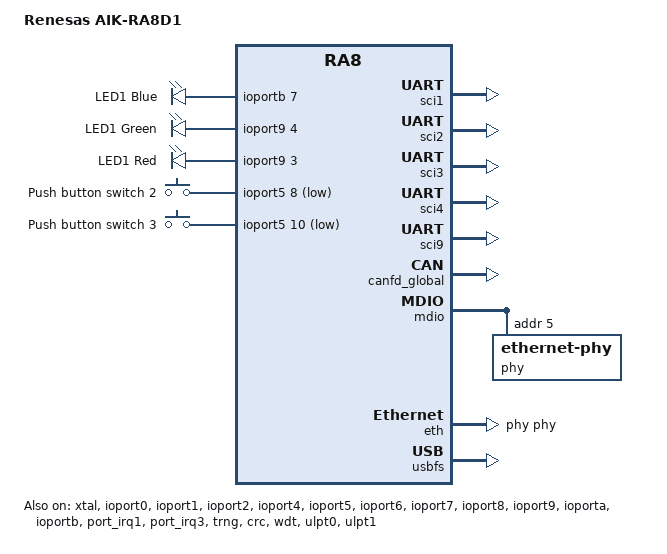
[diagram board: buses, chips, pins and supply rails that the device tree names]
/*
 * Copyright (c) 2026 Renesas Electronics Corporation
 *
 * SPDX-License-Identifier: Apache-2.0
 */

/dts-v1/;

#include <renesas/ra/ra8/r7fa8d1bhecbd.dtsi>
#include <zephyr/dt-bindings/gpio/gpio.h>
#include <zephyr/dt-bindings/i2c/i2c.h>
#include <zephyr/dt-bindings/input/input-event-codes.h>
#include <zephyr/dt-bindings/memory-attr/memory-attr-arm.h>
#include <zephyr/dt-bindings/memory-controller/renesas,ra-sdram.h>
#include <zephyr/dt-bindings/pwm/pwm.h>
#include "aik_ra8d1-pinctrl.dtsi"
#include "aik_ra8d1-connector.dtsi"

/ {
	model = "Renesas AIK-RA8D1";
	compatible = "renesas,ra8d1", "renesas,ra8";

	chosen {
		zephyr,sram = &sram0;
		zephyr,flash = &flash0;
		zephyr,flash-controller = &flash0;
		zephyr,console = &uart4;
		zephyr,shell-uart = &uart4;
		zephyr,entropy = &trng;
		zephyr,canbus = &canfd1;
		zephyr,crc = &crc;
	};

	leds {
		compatible = "gpio-leds";

		led1_blue: led1-blue {
			gpios = <&ioportb 7 GPIO_ACTIVE_HIGH>;
			label = "LED1 Blue";
		};

		led1_green: led1-green {
			gpios = <&ioport9 4 GPIO_ACTIVE_HIGH>;
			label = "LED1 Green";
		};

		led1_red: led1-red {
			gpios = <&ioport9 3 GPIO_ACTIVE_HIGH>;
			label = "LED1 Red";
		};
	};

	buttons {
		compatible = "gpio-keys";

		button2: s2 {
			gpios = <&ioport5 8 (GPIO_PULL_UP | GPIO_ACTIVE_LOW)>;	/* IRQ1 */
			label = "Push button switch 2";
			zephyr,code = <INPUT_KEY_0>;
		};

		button3: s3 {
			gpios = <&ioport5 10 (GPIO_PULL_UP | GPIO_ACTIVE_LOW)>;	/* IRQ3 */
			label = "Push button switch 3";
			zephyr,code = <INPUT_KEY_1>;
		};
	};

	aliases {
		led0 = &led1_blue;
		led1 = &led1_green;
		led2 = &led1_red;
		sw0 = &button2;
		sw1 = &button3;
		mipi-dsi = &mipi_dsi;
		watchdog0 = &wdt;
	};

	sdram1: sdram@68000000 {
		compatible = "zephyr,memory-region", "mmio-sram";
		reg = <0x68000000 DT_SIZE_M(64)>;	/* 512 Mbits */
		zephyr,memory-region = "SDRAM";
	};

	dvp_20pin_xclk: cam_clock: pwmclock {
		compatible = "pwm-clock";
		#clock-cells = <1>;
		clock-frequency = <DT_FREQ_M(24)>;
		pwms = <&pwm3 0 PWM_KHZ(24000) PWM_POLARITY_NORMAL>;
		status = "disabled";
	};
};

&xtal {
	clock-frequency = <DT_FREQ_M(24)>;
	mosel = <0>;
	#clock-cells = <0>;
	status = "okay";
};

&subclk {
	status = "okay";
};

&pll {
	status = "okay";

	pllp {
		status = "okay";
	};

	pllq {
		div = <4>;
		freq = <DT_FREQ_M(240)>;
		status = "okay";
	};

	pllr {
		div = <9>;
		freq = <106666667>; /* 106.67 Mhz */
		status = "okay";
	};
};

&sciclk {
	clocks = <&pllr>;
	div = <2>;
	status = "okay";
};

&canfdclk {
	clocks = <&pllp>;
	div = <6>;
	status = "okay";
};

&lcdclk {
	clocks = <&pll>;
	div = <2>;
	status = "okay";
};

&uclk {
	clocks = <&pllq>;
	div = <5>;
	status = "okay";
};

&ioport0 {
	status = "okay";
};

&ioport1 {
	status = "okay";
};

&ioport2 {
	status = "okay";
};

&ioport4 {
	status = "okay";
};

&ioport5 {
	status = "okay";
};

&ioport6 {
	status = "okay";
};

&ioport7 {
	status = "okay";
};

&ioport8 {
	status = "okay";
};

&ioport9 {
	status = "okay";
};

&ioporta {
	status = "okay";
};

&ioportb {
	status = "okay";
};

&port_irq1 {
	interrupts = <0 12>;
	status = "okay";
};

&port_irq3 {
	interrupts = <1 12>;
	status = "okay";
};

&port_irq13 {
	interrupts = <2 12>;
};

&sdram {
	pinctrl-0 = <&sdram_default>;
	pinctrl-names = "default";
	auto-refresh-interval = <SDRAM_AUTO_REFRESH_INTERVAL_10CYCLES>;
	auto-refresh-count = <SDRAM_AUTO_REFRESH_COUNT_8TIMES>;
	precharge-cycle-count = <SDRAM_AUTO_PRECHARGE_CYCLE_3CYCLES>;
	multiplex-addr-shift = "10-bit";
	endian-mode = "little-endian";
	continuous-access;
	bus-width = "16-bit";
	status = "okay";

	bank@0 {
		reg = <0>;
		renesas,ra-sdram-timing = <SDRAM_TRAS_6CYCLES
					   SDRAM_TRCD_3CYCLES
					   SDRAM_TRP_3CYCLES
					   SDRAM_TWR_2CYCLES
					   SDRAM_TCL_3CYCLES
					   937
					   SDRAM_TREFW_8CYCLES>;
	};
};

&flash1 {
	partitions {
		compatible = "fixed-partitions";
		#address-cells = <1>;
		#size-cells = <1>;

		storage_partition: partition@0 {
			label = "storage";
			reg = <0x0 DT_SIZE_K(12)>;
		};
	};
};

&trng {
	status = "okay";
};

&crc {
	status = "okay";
};

&wdt {
	status = "okay";
};

&ulpt0 {
	interrupt-names = "ulpti";
	interrupts = <3 12>;
	status = "okay";

	timer {
		status = "okay";
	};
};

&ulpt1 {
	status = "okay";

	timer {
		status = "okay";
	};
};

&sci1 {
	pinctrl-0 = <&sci1_default>;
	pinctrl-names = "default";
	interrupts = <4 12>, <5 12>, <6 12>, <7 12>;
	interrupt-names = "rxi", "txi", "tei", "eri";
	status = "okay";
};

&sci2 {
	pinctrl-0 = <&sci2_default>;
	pinctrl-names = "default";
	interrupts = <8 12>, <9 12>, <10 12>, <11 12>;
	interrupt-names = "rxi", "txi", "tei", "eri";
	status = "okay";
};

&sci3 {
	pinctrl-0 = <&sci3_default>;
	pinctrl-names = "default";
	interrupts = <12 12>, <13 12>, <14 12>, <15 12>;
	interrupt-names = "rxi", "txi", "tei", "eri";
	status = "okay";
};

&sci4 {
	pinctrl-0 = <&sci4_default>;
	pinctrl-names = "default";
	interrupts = <16 12>, <17 12>, <18 12>, <19 12>;
	interrupt-names = "rxi", "txi", "tei", "eri";
	status = "okay";

	uart4: uart {
		current-speed = <115200>;
		status = "okay";
	};
};

&sci9 {
	pinctrl-0 = <&sci9_default>;
	pinctrl-names = "default";
	interrupts = <20 12>, <21 12>, <22 12>, <23 12>;
	interrupt-names = "rxi", "txi", "tei", "eri";
	status = "okay";
};

&iic1 {
	pinctrl-0 = <&iic1_default>;
	pinctrl-names = "default";
	interrupts = <24 12>, <25 12>, <26 12>, <27 12>;
	interrupt-names = "rxi", "txi", "tei", "eri";
};

&spi1 {
	pinctrl-0 = <&spi1_default>;
	pinctrl-names = "default";
	interrupts = <28 12>, <29 12>, <30 12>, <31 12>;
	interrupt-names = "rxi", "txi", "tei", "eri";
};

&canfd_global {
	interrupts = <32 12>, <33 12>;
	interrupt-names = "rxf", "glerr";
	status = "okay";

	canfd0 {
		pinctrl-0 = <&canfd0_default>;
		pinctrl-names = "default";
		interrupts = <34 12>, <35 12>, <36 12>;
		interrupt-names = "err", "tx", "rx";
		rx-max-filters = <16>;
		status = "okay";

		can-transceiver {
			max-bitrate = <1000000>;
		};
	};
};

&mdio {
	pinctrl-0 = <&ether_default>;
	pinctrl-names = "default";
	status = "okay";

	phy: ethernet-phy@5 {
		compatible = "ethernet-phy";
		reg = <5>;
		status = "okay";
	};
};

&eth {
	interrupts = <37 12>;
	local-mac-address = [74 90 50 b0 5d e9];
	phy-handle = <&phy>;
	status = "okay";
};

&pwm3 {
	pinctrl-0 = <&pwm3_default>;
	pinctrl-names = "default";
	interrupts = <38 12>, <39 12>;
	interrupt-names = "gtioca", "overflow";
};

&ceu {
	pinctrl-0 = <&ceu_default>;
	pinctrl-names = "default";
	interrupts = <40 12>;
	interrupt-names = "ceui";
	clocks = <&pclka MSTPC 16>, <&cam_clock 0>;
	clock-names = "pclk", "cam-xclk";
	burst-transfer = <256>;
};

&usbfs {
	pinctrl-0 = <&usbfs_default>;
	pinctrl-names = "default";
	interrupts = <41 12>, <42 12>;
	interrupt-names = "usbfs-i", "usbfs-r";
	maximum-speed = "full-speed";
	status = "okay";

	zephyr_udc0: udc {
		status = "okay";
	};
};
